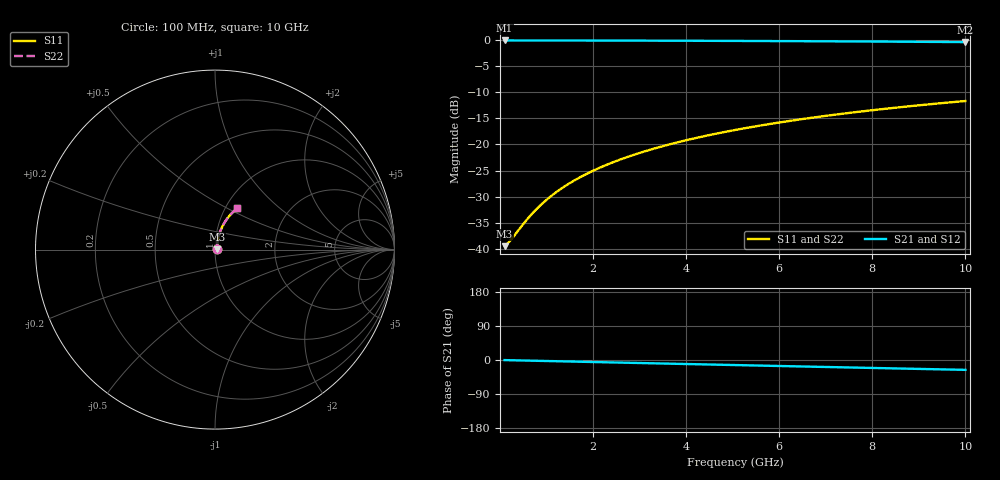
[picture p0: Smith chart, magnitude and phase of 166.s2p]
# Hz S RI R 50.00
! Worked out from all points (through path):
!   100 points, 100 MHz to 10 GHz, reference 50 ohm
!   highest |S21| = -0.09 dB at 100 MHz (marker M1); lowest = -0.4 dB at 10 GHz (marker M2)
!   group delay of S21, straight-line fit = 7.24 ps
!   lowest |S11| = -39.5 dB at 100 MHz (marker M3), VSWR 1.02, Z = 51 + j0.277 ohm
!   |S11| at or under -10 dB: start of sweep to end of sweep
!   |S22| runs from -39.5 to -11.7 dB; largest |S21 - S12| = 0
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1e8  0.0103 0.00271  0.9897 -0.00459  0.9897 -0.00459  0.0103 0.00271
2e8  0.0104 0.00542  0.9896 -0.00918  0.9896 -0.00918  0.0104 0.00542
6e8  0.0109 0.0162  0.989 -0.0275  0.989 -0.0275  0.0109 0.0162
7e8  0.0111 0.0189  0.9888 -0.0321  0.9888 -0.0321  0.0111 0.0189
9e8  0.0116 0.0243  0.9883 -0.0413  0.9883 -0.0413  0.0116 0.0243
1.1e9  0.0121 0.0297  0.9876 -0.0504  0.9876 -0.0504  0.0121 0.0297
1.3e9  0.0128 0.0351  0.9869 -0.0596  0.9869 -0.0596  0.0128 0.0351
1.5e9  0.0135 0.0404  0.9861 -0.0687  0.9861 -0.0687  0.0135 0.0404
1.8e9  0.0148 0.0484  0.9846 -0.0823  0.9846 -0.0823  0.0148 0.0484
2.1e9  0.0163 0.0564  0.9829 -0.0959  0.9829 -0.0959  0.0163 0.0564
2.5e9  0.0186 0.0669  0.9802 -0.114  0.9802 -0.114  0.0186 0.0669
2.9e9  0.0213 0.0774  0.9771 -0.132  0.9771 -0.132  0.0213 0.0774
3.4e9  0.0252 0.0902  0.9726 -0.1543  0.9726 -0.1543  0.0252 0.0902
3.8e9  0.0288 0.1003  0.9686 -0.1719  0.9686 -0.1719  0.0288 0.1003
4.2e9  0.0327 0.1103  0.9641 -0.1895  0.9641 -0.1895  0.0327 0.1103
4.6e9  0.037 0.1201  0.9592 -0.2068  0.9592 -0.2068  0.037 0.1201
5.1e9  0.0428 0.1321  0.9525 -0.2282  0.9525 -0.2282  0.0428 0.1321
5.9e9  0.0532 0.1505  0.9405 -0.2619  0.9405 -0.2619  0.0532 0.1505
6.7e9  0.0648 0.1681  0.927 -0.2946  0.927 -0.2946  0.0648 0.1681
7.5e9  0.0775 0.1847  0.9122 -0.3264  0.9122 -0.3264  0.0775 0.1847
8.4e9  0.0931 0.2021  0.894 -0.3609  0.894 -0.3609  0.0931 0.2021
1e10  0.1237 0.2293  0.8579 -0.4187  0.8579 -0.4187  0.1237 0.2293
